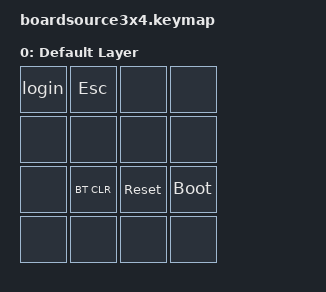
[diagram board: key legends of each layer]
/*
 * Copyright (c) 2020 The ZMK Contributors
 *
 * SPDX-License-Identifier: MIT
 */

#include <behaviors.dtsi>
#include <dt-bindings/zmk/keys.h>
#include <dt-bindings/zmk/bt.h>

/ {
    macros {
        login: login {
            compatible = "zmk,behavior-macro";
            #binding-cells = <0>;
            bindings
                = <&macro_tap &kp A &kp TAB &kp A>
                , <&macro_wait_time 300>
                , <&macro_tap &kp ENTER>
                ;
        };
    };
};

/ {
    keymap {
        compatible = "zmk,keymap";

        default_layer {
            display-name = "Default Layer";

            bindings = <
    &login  &kp ESC     &none       &none
    &none   &none       &none       &none
    &none   &bt BT_CLR  &sys_reset  &bootloader
    &none   &none       &none       &none
            >;

        };
    };
};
